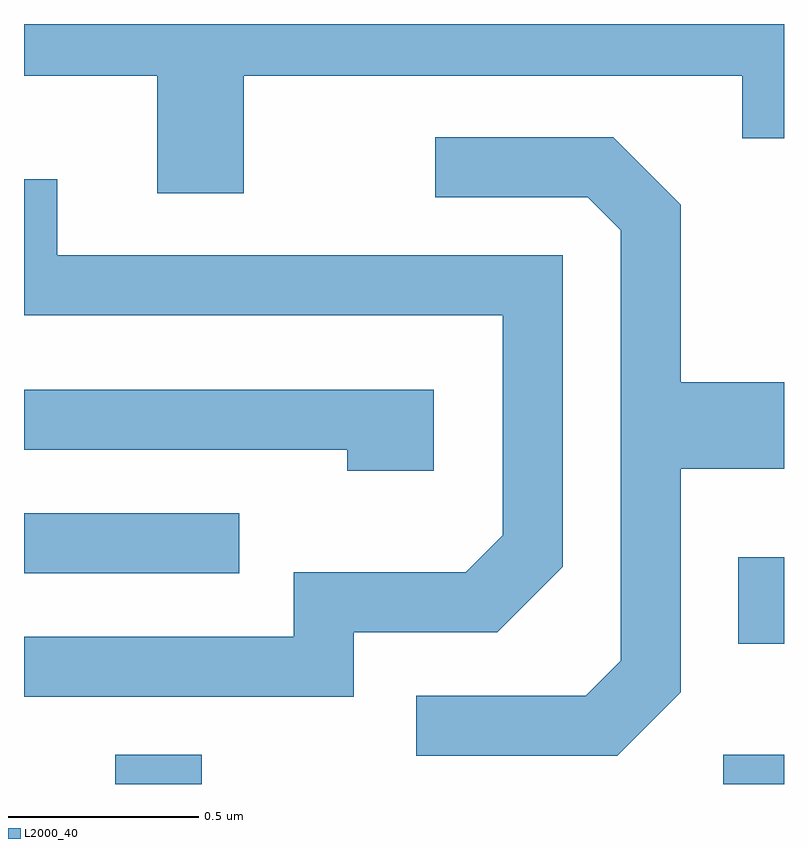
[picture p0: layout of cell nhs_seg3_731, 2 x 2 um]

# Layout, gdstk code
import gdstk
lib = gdstk.Library(unit=1e-6, precision=1e-09)
def R(c, l, rs):  # rectangles x0, y0, x1, y1
    for r in rs: c.add(gdstk.rectangle(r[:2], r[2:], *l))
def P(c, l, *ps):  # polygons
    for p in ps: c.add(gdstk.Polygon(p, *l))
L2000_40 = (2000, 40)

nhs_seg3_731 = lib.new_cell('nhs_seg3_731')
R(nhs_seg3_731, L2000_40, [(190.851,1161.892,191.079,1161.969), (192.451,1161.892,192.611,1161.969), (192.491,1162.261,192.611,1162.489), (190.611,1162.446,191.178,1162.604)])
P(nhs_seg3_731, L2000_40, [(191.189,1163.756),(192.501,1163.756),(192.501,1163.591),(192.611,1163.591),(192.611,1163.892),(190.611,1163.892),(190.611,1163.756),(190.961,1163.756),(190.961,1163.446),(191.189,1163.446)],
  [(192.339,1162.134),(192.339,1162.721),(192.611,1162.721),(192.611,1162.949),(192.339,1162.949),(192.339,1163.417),(192.162,1163.594),(191.693,1163.594),(191.693,1163.436),(192.094,1163.436),(192.181,1163.349),(192.181,1162.217),(192.089,1162.124),(191.643,1162.124),(191.643,1161.966),(192.172,1161.966)],
  [(191.479,1162.291),(191.857,1162.291),(192.029,1162.464),(192.029,1163.284),(190.699,1163.284),(190.699,1163.483),(190.611,1163.483),(190.611,1163.126),(191.871,1163.126),(191.871,1162.547),(191.774,1162.449),(191.321,1162.449),(191.321,1162.279),(190.611,1162.279),(190.611,1162.121),(191.479,1162.121)],
  [(191.689,1162.929),(190.611,1162.929),(190.611,1162.771),(191.461,1162.771),(191.461,1162.716),(191.689,1162.716)])

lib.write_gds('nhs_seg3_731.gds')
